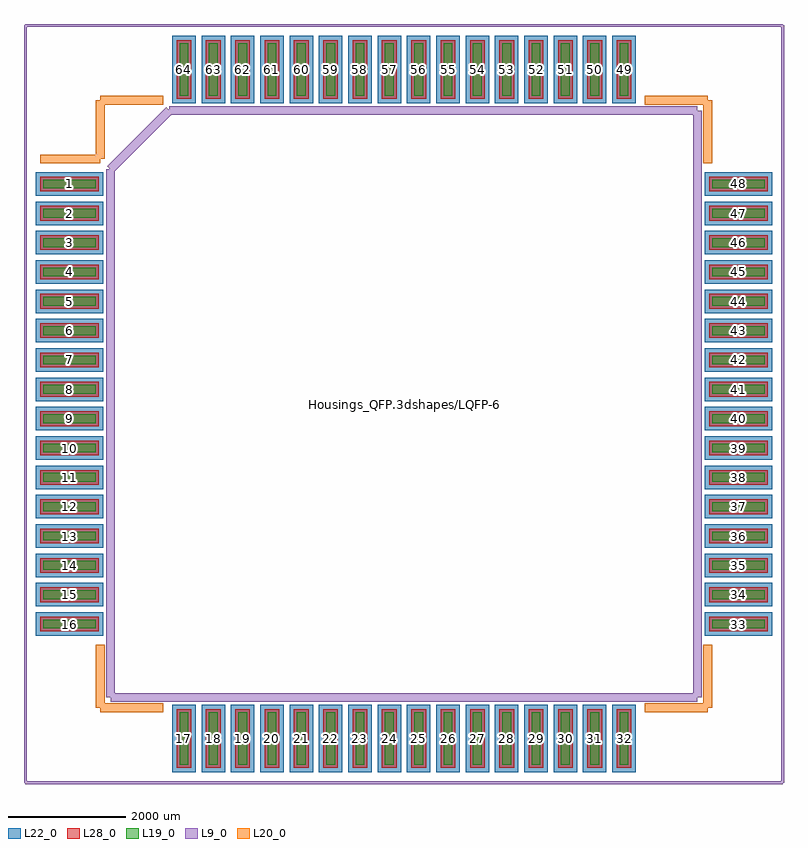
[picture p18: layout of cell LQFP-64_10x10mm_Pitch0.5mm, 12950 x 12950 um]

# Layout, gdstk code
import gdstk
lib = gdstk.Library(unit=1e-6, precision=1e-09)
def R(c, l, rs):  # rectangles x0, y0, x1, y1
    for r in rs: c.add(gdstk.rectangle(r[:2], r[2:], *l))
def A(c, l, x, y, w, h, nx, ny, dx, dy):  # array of equal rectangles
    R(c, l, [(x+i*dx, y+j*dy, x+i*dx+w, y+j*dy+h) for i in range(nx) for j in range(ny)])
L9_0 = (9, 0)
L19_0 = (19, 0)
L20_0 = (20, 0)
L22_0 = (22, 0)
L28_0 = (28, 0)

lqfp_64_10x10mm_pitch0_5 = lib.new_cell('LQFP-64_10x10mm_Pitch0.5mm')
A(lqfp_64_10x10mm_pitch0_5, L19_0, -3825, -6150, 150, 900, 16, 2, 500, 11400)
A(lqfp_64_10x10mm_pitch0_5, L19_0, -6150, -3825, 900, 150, 1, 16, 0, 500)
A(lqfp_64_10x10mm_pitch0_5, L19_0, 5250, -3825, 900, 150, 1, 16, 0, 500)
A(lqfp_64_10x10mm_pitch0_5, L22_0, -3950, -6275, 400, 1150, 16, 2, 500, 11400)
A(lqfp_64_10x10mm_pitch0_5, L22_0, -6275, -3950, 1150, 400, 1, 16, 0, 500)
A(lqfp_64_10x10mm_pitch0_5, L22_0, 5125, -3950, 1150, 400, 1, 16, 0, 500)
A(lqfp_64_10x10mm_pitch0_5, L28_0, -3875, -6200, 250, 1000, 16, 2, 500, 11400)
A(lqfp_64_10x10mm_pitch0_5, L28_0, -6200, -3875, 1000, 250, 1, 16, 0, 500)
A(lqfp_64_10x10mm_pitch0_5, L28_0, 5200, -3875, 1000, 250, 1, 16, 0, 500)
lqfp_64_10x10mm_pitch0_5.add(gdstk.FlexPath([(-5175,4175),(-6200,4175)], 149.998, ends="flush", simple_path=True, layer=20, datatype=0))  # L20_0
lqfp_64_10x10mm_pitch0_5.add(gdstk.FlexPath([(5175,5175),(4100,5175)], 149.998, ends="flush", simple_path=True, layer=20, datatype=0))  # L20_0
lqfp_64_10x10mm_pitch0_5.add(gdstk.FlexPath([(5175,-5175),(4100,-5175)], 149.998, ends="flush", simple_path=True, layer=20, datatype=0))  # L20_0
lqfp_64_10x10mm_pitch0_5.add(gdstk.FlexPath([(-5175,-5175),(-4100,-5175)], 149.998, ends="flush", simple_path=True, layer=20, datatype=0))  # L20_0
lqfp_64_10x10mm_pitch0_5.add(gdstk.FlexPath([(-5175,5175),(-4100,5175)], 149.998, ends="flush", simple_path=True, layer=20, datatype=0))  # L20_0
lqfp_64_10x10mm_pitch0_5.add(gdstk.FlexPath([(-5175,-5175),(-5175,-4100)], 149.998, ends="flush", simple_path=True, layer=20, datatype=0))  # L20_0
lqfp_64_10x10mm_pitch0_5.add(gdstk.FlexPath([(5175,-5175),(5175,-4100)], 149.998, ends="flush", simple_path=True, layer=20, datatype=0))  # L20_0
lqfp_64_10x10mm_pitch0_5.add(gdstk.FlexPath([(5175,5175),(5175,4100)], 149.998, ends="flush", simple_path=True, layer=20, datatype=0))  # L20_0
lqfp_64_10x10mm_pitch0_5.add(gdstk.FlexPath([(-5175,5175),(-5175,4175)], 149.998, ends="flush", simple_path=True, layer=20, datatype=0))  # L20_0
lqfp_64_10x10mm_pitch0_5.add(gdstk.FlexPath([(-6450,-6450),(6450,-6450)], 50, ends="flush", simple_path=True, layer=9, datatype=0))  # L9_0
lqfp_64_10x10mm_pitch0_5.add(gdstk.FlexPath([(-6450,6450),(6450,6450)], 50, ends="flush", simple_path=True, layer=9, datatype=0))  # L9_0
lqfp_64_10x10mm_pitch0_5.add(gdstk.FlexPath([(6450,6450),(6450,-6450)], 50, ends="flush", simple_path=True, layer=9, datatype=0))  # L9_0
lqfp_64_10x10mm_pitch0_5.add(gdstk.FlexPath([(-6450,6450),(-6450,-6450)], 50, ends="flush", simple_path=True, layer=9, datatype=0))  # L9_0
lqfp_64_10x10mm_pitch0_5.add(gdstk.FlexPath([(-5000,4000),(-4000,5000)], 149.998, ends="flush", simple_path=True, layer=9, datatype=0))  # L9_0
lqfp_64_10x10mm_pitch0_5.add(gdstk.FlexPath([(-5000,-5000),(-5000,4000)], 149.998, ends="flush", simple_path=True, layer=9, datatype=0))  # L9_0
lqfp_64_10x10mm_pitch0_5.add(gdstk.FlexPath([(5000,-5000),(-5000,-5000)], 149.998, ends="flush", simple_path=True, layer=9, datatype=0))  # L9_0
lqfp_64_10x10mm_pitch0_5.add(gdstk.FlexPath([(5000,5000),(5000,-5000)], 149.998, ends="flush", simple_path=True, layer=9, datatype=0))  # L9_0
lqfp_64_10x10mm_pitch0_5.add(gdstk.FlexPath([(-4000,5000),(5000,5000)], 149.998, ends="flush", simple_path=True, layer=9, datatype=0))  # L9_0
lqfp_64_10x10mm_pitch0_5.add(gdstk.Label('Housings_QFP.3dshapes/LQFP-64_10x10mm_Pitch0.5mm.wrl', (0,0), layer=12, texttype=0))
lqfp_64_10x10mm_pitch0_5.add(gdstk.Label('64', (-3750,5700), layer=28, texttype=0))
lqfp_64_10x10mm_pitch0_5.add(gdstk.Label('63', (-3250,5700), layer=28, texttype=0))
lqfp_64_10x10mm_pitch0_5.add(gdstk.Label('62', (-2750,5700), layer=28, texttype=0))
lqfp_64_10x10mm_pitch0_5.add(gdstk.Label('61', (-2250,5700), layer=28, texttype=0))
lqfp_64_10x10mm_pitch0_5.add(gdstk.Label('60', (-1750,5700), layer=28, texttype=0))
lqfp_64_10x10mm_pitch0_5.add(gdstk.Label('59', (-1250,5700), layer=28, texttype=0))
lqfp_64_10x10mm_pitch0_5.add(gdstk.Label('58', (-750,5700), layer=28, texttype=0))
lqfp_64_10x10mm_pitch0_5.add(gdstk.Label('57', (-250,5700), layer=28, texttype=0))
lqfp_64_10x10mm_pitch0_5.add(gdstk.Label('56', (250,5700), layer=28, texttype=0))
lqfp_64_10x10mm_pitch0_5.add(gdstk.Label('55', (750,5700), layer=28, texttype=0))
lqfp_64_10x10mm_pitch0_5.add(gdstk.Label('54', (1250,5700), layer=28, texttype=0))
lqfp_64_10x10mm_pitch0_5.add(gdstk.Label('53', (1750,5700), layer=28, texttype=0))
lqfp_64_10x10mm_pitch0_5.add(gdstk.Label('52', (2250,5700), layer=28, texttype=0))
lqfp_64_10x10mm_pitch0_5.add(gdstk.Label('51', (2750,5700), layer=28, texttype=0))
lqfp_64_10x10mm_pitch0_5.add(gdstk.Label('50', (3250,5700), layer=28, texttype=0))
lqfp_64_10x10mm_pitch0_5.add(gdstk.Label('49', (3750,5700), layer=28, texttype=0))
lqfp_64_10x10mm_pitch0_5.add(gdstk.Label('48', (5700,3750), layer=28, texttype=0))
lqfp_64_10x10mm_pitch0_5.add(gdstk.Label('47', (5700,3250), layer=28, texttype=0))
lqfp_64_10x10mm_pitch0_5.add(gdstk.Label('46', (5700,2750), layer=28, texttype=0))
lqfp_64_10x10mm_pitch0_5.add(gdstk.Label('45', (5700,2250), layer=28, texttype=0))
lqfp_64_10x10mm_pitch0_5.add(gdstk.Label('44', (5700,1750), layer=28, texttype=0))
lqfp_64_10x10mm_pitch0_5.add(gdstk.Label('43', (5700,1250), layer=28, texttype=0))
lqfp_64_10x10mm_pitch0_5.add(gdstk.Label('42', (5700,750), layer=28, texttype=0))
lqfp_64_10x10mm_pitch0_5.add(gdstk.Label('41', (5700,250), layer=28, texttype=0))
lqfp_64_10x10mm_pitch0_5.add(gdstk.Label('40', (5700,-250), layer=28, texttype=0))
lqfp_64_10x10mm_pitch0_5.add(gdstk.Label('39', (5700,-750), layer=28, texttype=0))
lqfp_64_10x10mm_pitch0_5.add(gdstk.Label('38', (5700,-1250), layer=28, texttype=0))
lqfp_64_10x10mm_pitch0_5.add(gdstk.Label('37', (5700,-1750), layer=28, texttype=0))
lqfp_64_10x10mm_pitch0_5.add(gdstk.Label('36', (5700,-2250), layer=28, texttype=0))
lqfp_64_10x10mm_pitch0_5.add(gdstk.Label('35', (5700,-2750), layer=28, texttype=0))
lqfp_64_10x10mm_pitch0_5.add(gdstk.Label('34', (5700,-3250), layer=28, texttype=0))
lqfp_64_10x10mm_pitch0_5.add(gdstk.Label('33', (5700,-3750), layer=28, texttype=0))
lqfp_64_10x10mm_pitch0_5.add(gdstk.Label('32', (3750,-5700), layer=28, texttype=0))
lqfp_64_10x10mm_pitch0_5.add(gdstk.Label('31', (3250,-5700), layer=28, texttype=0))
lqfp_64_10x10mm_pitch0_5.add(gdstk.Label('30', (2750,-5700), layer=28, texttype=0))
lqfp_64_10x10mm_pitch0_5.add(gdstk.Label('29', (2250,-5700), layer=28, texttype=0))
lqfp_64_10x10mm_pitch0_5.add(gdstk.Label('28', (1750,-5700), layer=28, texttype=0))
lqfp_64_10x10mm_pitch0_5.add(gdstk.Label('27', (1250,-5700), layer=28, texttype=0))
lqfp_64_10x10mm_pitch0_5.add(gdstk.Label('26', (750,-5700), layer=28, texttype=0))
lqfp_64_10x10mm_pitch0_5.add(gdstk.Label('25', (250,-5700), layer=28, texttype=0))
lqfp_64_10x10mm_pitch0_5.add(gdstk.Label('24', (-250,-5700), layer=28, texttype=0))
lqfp_64_10x10mm_pitch0_5.add(gdstk.Label('23', (-750,-5700), layer=28, texttype=0))
lqfp_64_10x10mm_pitch0_5.add(gdstk.Label('22', (-1250,-5700), layer=28, texttype=0))
lqfp_64_10x10mm_pitch0_5.add(gdstk.Label('21', (-1750,-5700), layer=28, texttype=0))
lqfp_64_10x10mm_pitch0_5.add(gdstk.Label('20', (-2250,-5700), layer=28, texttype=0))
lqfp_64_10x10mm_pitch0_5.add(gdstk.Label('19', (-2750,-5700), layer=28, texttype=0))
lqfp_64_10x10mm_pitch0_5.add(gdstk.Label('18', (-3250,-5700), layer=28, texttype=0))
lqfp_64_10x10mm_pitch0_5.add(gdstk.Label('17', (-3750,-5700), layer=28, texttype=0))
lqfp_64_10x10mm_pitch0_5.add(gdstk.Label('16', (-5700,-3750), layer=28, texttype=0))
lqfp_64_10x10mm_pitch0_5.add(gdstk.Label('15', (-5700,-3250), layer=28, texttype=0))
lqfp_64_10x10mm_pitch0_5.add(gdstk.Label('14', (-5700,-2750), layer=28, texttype=0))
lqfp_64_10x10mm_pitch0_5.add(gdstk.Label('13', (-5700,-2250), layer=28, texttype=0))
lqfp_64_10x10mm_pitch0_5.add(gdstk.Label('12', (-5700,-1750), layer=28, texttype=0))
lqfp_64_10x10mm_pitch0_5.add(gdstk.Label('11', (-5700,-1250), layer=28, texttype=0))
lqfp_64_10x10mm_pitch0_5.add(gdstk.Label('10', (-5700,-750), layer=28, texttype=0))
lqfp_64_10x10mm_pitch0_5.add(gdstk.Label('9', (-5700,-250), layer=28, texttype=0))
lqfp_64_10x10mm_pitch0_5.add(gdstk.Label('8', (-5700,250), layer=28, texttype=0))
lqfp_64_10x10mm_pitch0_5.add(gdstk.Label('7', (-5700,750), layer=28, texttype=0))
lqfp_64_10x10mm_pitch0_5.add(gdstk.Label('6', (-5700,1250), layer=28, texttype=0))
lqfp_64_10x10mm_pitch0_5.add(gdstk.Label('5', (-5700,1750), layer=28, texttype=0))
lqfp_64_10x10mm_pitch0_5.add(gdstk.Label('4', (-5700,2250), layer=28, texttype=0))
lqfp_64_10x10mm_pitch0_5.add(gdstk.Label('3', (-5700,2750), layer=28, texttype=0))
lqfp_64_10x10mm_pitch0_5.add(gdstk.Label('2', (-5700,3250), layer=28, texttype=0))
lqfp_64_10x10mm_pitch0_5.add(gdstk.Label('1', (-5700,3750), layer=28, texttype=0))
lqfp_64_10x10mm_pitch0_5.add(gdstk.Label('%R', (0,0), layer=9, texttype=0))
lqfp_64_10x10mm_pitch0_5.add(gdstk.Label('type', (0,-7200), layer=9, texttype=0))
lqfp_64_10x10mm_pitch0_5.add(gdstk.Label('devicename', (0,7200), layer=9, texttype=0))

lib.write_gds('LQFP-64_10x10mm_Pitch0.5mm.gds')
